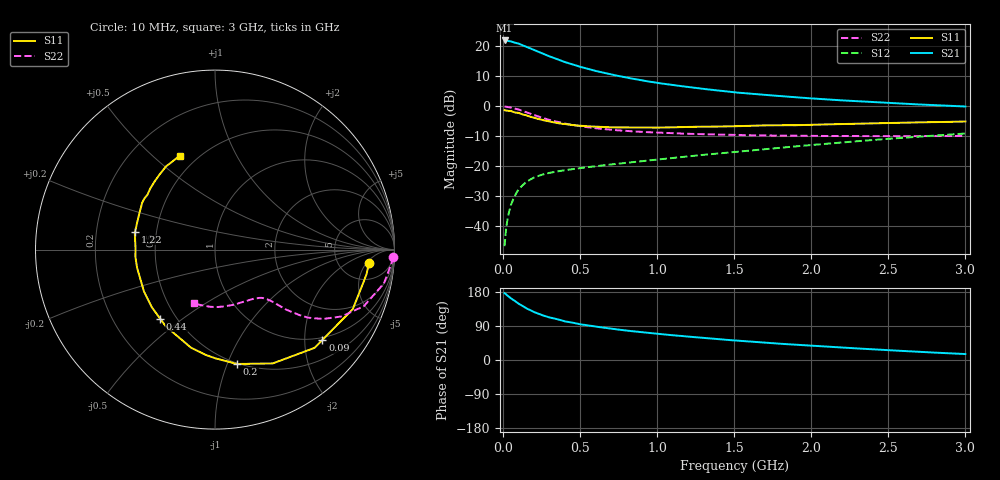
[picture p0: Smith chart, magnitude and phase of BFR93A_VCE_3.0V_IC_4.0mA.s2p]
! Infineon Technologies  Discrete & RF Semiconductors
! BFR93A
! VCE =  3.0 V,  IC =  4.0 mA
! Common Emitter S-Parameters:  Nov 2015
# GHz  S  MA  R  50
!  f  S11  S21  S12  S22
! GHz  MAG  ANG  MAG  ANG  MAG  ANG  MAG  ANG
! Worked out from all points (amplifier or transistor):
!   180 points, 10 MHz to 3 GHz, reference 50 ohm
!   highest |S21| = 21.9 dB at 10 MHz (marker M1)
!   |S21| within 3 dB of that: start of sweep to 193.4 MHz
!   unconditionally stable (mu >= 1): 807.9 MHz to 2.772 GHz
!   at 160 MHz: K = 0.29, MSG = 22.3 dB, |S12| = -24.9 dB
!   at 1.22 GHz: K = 1.13, MAG = 9.3 dB, |S12| = -16.6 dB
!   at 3 GHz: K = 0.97, MSG = 4.5 dB, |S12| = -9.0 dB
!   S11 on the Smith chart (normalised r, x): 10 MHz: 10, -6; 90 MHz: 0.94, -2.43; 200 MHz: 0.49, -1.08; 440 MHz: 0.41, -0.41; 1.22 GHz: 0.38, +0.10; 3 GHz: 0.40, +0.62
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0.01  0.861 -4.8  12.49 176.4  0.0047 87.4  0.9911 -2.4
0.025  0.8488 -11.6  12.36 171.4  0.0114 82.3  0.9808 -5.7
0.05  0.8364 -23.3  12.09 163.0  0.0224 77.6  0.96 -11.3
0.09  0.7817 -40.1  11.24 151.8  0.0375 68.7  0.8997 -18.8
0.1  0.7794 -44.6  11.1 148.8  0.0414 67.5  0.8872 -20.8
0.15  0.7111 -63.1  9.855 136.4  0.055 59.4  0.7983 -27.8
0.2  0.649 -79.1  8.708 126.7  0.0652 54.2  0.7184 -32.5
0.24  0.6054 -89.9  7.859 120.4  0.0709 50.9  0.6628 -35.2
0.26  0.5893 -94.9  7.486 117.5  0.0735 49.8  0.6384 -36.3
0.3  0.5625 -103.8  6.809 112.4  0.078 48.1  0.5954 -37.8
0.4  0.5075 -122.8  5.471 102.1  0.0865 45.8  0.5165 -40.2
0.44  0.4911 -128.5  5.093 99.3  0.0893 45.7  0.4962 -40.6
0.52  0.4715 -140.0  4.416 93.2  0.095 45.6  0.4588 -41.5
0.6  0.4595 -149.4  3.888 88.1  0.1007 46.0  0.431 -42.2
0.7  0.4474 -158.7  3.392 82.5  0.1077 47.0  0.407 -43.3
0.88  0.4447 -173.3  2.763 74.3  0.1206 49.0  0.378 -45.5
1.02  0.4434 177.9  2.417 68.5  0.1316 50.4  0.3639 -47.8
1.22  0.4563 167.3  2.07 61.1  0.1487 51.9  0.3481 -52.0
1.52  0.4672 154.4  1.694 51.0  0.1762 53.5  0.3334 -59.5
2.02  0.4956 136.9  1.346 37.2  0.2292 53.6  0.322 -74.4
2.52  0.5301 122.8  1.131 25.5  0.2902 50.8  0.3194 -92.0
3  0.5593 110.4  0.994 15.7  0.3528 46.3  0.3222 -111.8
